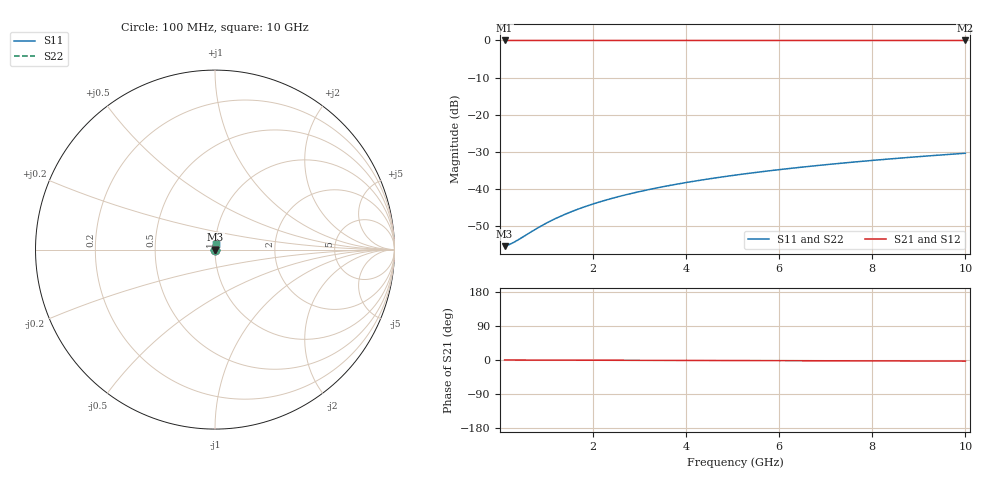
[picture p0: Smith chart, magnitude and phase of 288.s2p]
# Hz S RI R 50.00
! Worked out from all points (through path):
!   100 points, 100 MHz to 10 GHz, reference 50 ohm
!   highest |S21| = -0.01 dB at 100 MHz (marker M1); lowest = 0.0 dB at 10 GHz (marker M2)
!   lowest |S11| = -55.3 dB at 100 MHz (marker M3), VSWR 1.00, Z = 50.2 + j0.0303 ohm
!   |S11| at or under -10 dB: start of sweep to end of sweep
!   |S22| runs from -55.3 to -30.4 dB; largest |S21 - S12| = 0
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1e8  0.00168 0.000302  0.9983 -0.000505  0.9983 -0.000505  0.00168 0.000302
2e8  0.00169 0.000605  0.9983 -0.00101  0.9983 -0.00101  0.00169 0.000605
3e8  0.0017 0.000907  0.9983 -0.00151  0.9983 -0.00151  0.0017 0.000907
4e8  0.00171 0.00121  0.9983 -0.00202  0.9983 -0.00202  0.00171 0.00121
8e8  0.00174 0.00242  0.9983 -0.00404  0.9983 -0.00404  0.00174 0.00242
1.1e9  0.00176 0.00333  0.9982 -0.00555  0.9982 -0.00555  0.00176 0.00333
1.4e9  0.00178 0.00423  0.9982 -0.00707  0.9982 -0.00707  0.00178 0.00423
1.6e9  0.00179 0.00484  0.9982 -0.00808  0.9982 -0.00808  0.00179 0.00484
1.8e9  0.00181 0.00544  0.9982 -0.00909  0.9982 -0.00909  0.00181 0.00544
2.1e9  0.00183 0.00635  0.9982 -0.0106  0.9982 -0.0106  0.00183 0.00635
2.5e9  0.00187 0.00756  0.9981 -0.0126  0.9981 -0.0126  0.00187 0.00756
2.9e9  0.00191 0.00876  0.9981 -0.0146  0.9981 -0.0146  0.00191 0.00876
3.4e9  0.00196 0.0103  0.998 -0.0172  0.998 -0.0172  0.00196 0.0103
3.8e9  0.00201 0.0115  0.9979 -0.0192  0.9979 -0.0192  0.00201 0.0115
4.2e9  0.00207 0.0127  0.9979 -0.0212  0.9979 -0.0212  0.00207 0.0127
4.6e9  0.00213 0.0139  0.9978 -0.0232  0.9978 -0.0232  0.00213 0.0139
5.1e9  0.00221 0.0154  0.9977 -0.0258  0.9977 -0.0258  0.00221 0.0154
5.9e9  0.00236 0.0178  0.9976 -0.0298  0.9976 -0.0298  0.00236 0.0178
6.7e9  0.00252 0.0202  0.9974 -0.0338  0.9974 -0.0338  0.00252 0.0202
7.5e9  0.0027 0.0226  0.9972 -0.0379  0.9972 -0.0379  0.0027 0.0226
8.4e9  0.00294 0.0254  0.9969 -0.0424  0.9969 -0.0424  0.00294 0.0254
1e10  0.00341 0.0302  0.9964 -0.0505  0.9964 -0.0505  0.00341 0.0302
